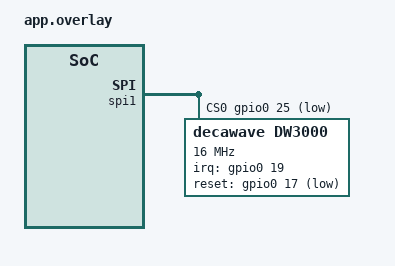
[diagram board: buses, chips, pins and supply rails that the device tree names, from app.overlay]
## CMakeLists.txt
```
cmake_minimum_required(VERSION 3.20.0)
find_package(Zephyr REQUIRED HINTS $ENV{ZEPHYR_BASE})
project(uwb_receiver2)

# Ajouter uniquement le fichier main.c
target_sources(app PRIVATE src/main.c)

# Les modules du driver DW3000 (hal_qorvo) sont ajoutés via west.yml
# Pas besoin de les réinclure ici manuellement (évite les conflits)
```

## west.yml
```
manifest:
  version: "0.13"

  remotes:
    - name: ncs
      url-base: https://github.com/nrfconnect

  defaults:
    remote: ncs

  projects:
    - name: nrf
      path: nrf
      revision: v2.9.1
      import: true

    - name: hal_qorvo
      path: modules/hal/qorvo
      revision: master
      url: https://github.com/br101/zephyr-dw3000-decadriver.git

  self:
    path: .
```

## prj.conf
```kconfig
# Logs
CONFIG_LOG=y
CONFIG_LOG_MODE_IMMEDIATE=y
CONFIG_LOG_DEFAULT_LEVEL=3
CONFIG_PRINTK=y

# UART
CONFIG_SERIAL=y
CONFIG_UART_CONSOLE=y
CONFIG_CONSOLE=y

# SPI + GPIO pour DW3000
CONFIG_SPI=y
CONFIG_GPIO=y

# DW3000 driver
CONFIG_DW3000=y
CONFIG_DW3000_CHIP_DW3000=y
CONFIG_DW3000_SPI_MAX_MHZ=32
CONFIG_DW3000_LOG_LEVEL_INF=y
```

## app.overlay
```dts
&spi1 {
    status = "okay";
    cs-gpios = <&gpio0 25 GPIO_ACTIVE_LOW>;
    dw3000@0 {
        compatible = "decawave,dw3000";
        reg = <0>;
        spi-max-frequency = <16000000>;
        irq-gpios = <&gpio0 19 GPIO_ACTIVE_HIGH>;
        reset-gpios = <&gpio0 17 GPIO_ACTIVE_LOW>;
        label = "DW3000";
    };
};
```

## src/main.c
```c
#include <zephyr/kernel.h>
#include <zephyr/device.h>
#include <zephyr/drivers/uart.h>
#include <zephyr/sys/printk.h>
#include <stdio.h>
#include <string.h>
#include <stdlib.h>

#include "deca_device_api.h"
#include "dw3000_deca_regs.h"

#define UART_DEVICE_NODE DT_CHOSEN(zephyr_console)
#define MAX_STORED_TSTAMPS 20
#define RECEIVER_ID 1
#define SYNC_TIMEOUT_MS 60000

static const struct device *uart_dev = DEVICE_DT_GET(UART_DEVICE_NODE);
K_THREAD_STACK_DEFINE(uart_stack, 1024);
struct k_thread uart_thread;
K_SEM_DEFINE(bt_cmd_sem, 0, 1);

// Buffer de timestamps
static uint64_t timestamps[MAX_STORED_TSTAMPS];
static int ts_index = 0;
static uint64_t synced_time_ref = 0;
static int64_t last_sync_time = 0;

void store_timestamp(uint64_t ts_val) {
    timestamps[ts_index] = ts_val;
    ts_index = (ts_index + 1) % MAX_STORED_TSTAMPS;
}

void uart_thread_fn(void *a, void *b, void *c) {
    uint8_t bt_cmd[2] = {0};
    size_t idx = 0;
    static char sync_buf[32];
    static int sync_idx = 0;

    while (1) {
        uint8_t ch;
        if (uart_poll_in(uart_dev, &ch) == 0) {
            if (ch == 'B' || ch == 'T') {
                bt_cmd[idx++] = ch;
                if (idx == 2 && bt_cmd[0] == 'B' && bt_cmd[1] == 'T') {
                    printk("\n[UART] Commande BT reçue. Passage en réception UWB...\n");
                    k_sem_give(&bt_cmd_sem);
                    idx = 0;
                }
            } else {
                idx = 0;
            }

            if (ch == 'S') {
                sync_buf[sync_idx++] = ch;
            } else if (sync_idx > 0) {
                sync_buf[sync_idx++] = ch;
                if (sync_idx >= 5 && strncmp(sync_buf, "SYNC:", 5) == 0) {
                    if (ch == '\n' || ch == '\r') {
                        sync_buf[sync_idx] = '\0';
                        uint64_t ts = strtoull(sync_buf + 5, NULL, 10);
                        synced_time_ref = ts;
                        last_sync_time = k_uptime_get();
                        printk("[SYNC] Réception synchronisation horloge : %llu\n", synced_time_ref);
                        sync_idx = 0;
                    }
                } else if (sync_idx >= sizeof(sync_buf)) {
                    sync_idx = 0;
                }
            }
        }
        k_msleep(10);
    }
}

int main(void)
{
    printk("\n[BOOT] Initialisation...\n");

    if (!device_is_ready(uart_dev)) {
        printk("[ERREUR] UART non prêt\n");
        return 1;
    }

    dwt_softreset(0);
    if (dwt_initialise(DWT_DW_INIT) != DWT_SUCCESS) {
        printk("[ERREUR] Échec init DW3000\n");
        return 1;
    }

    printk("[OK] DW3000 initialisé\n");

    dwt_setchannel(5);
    dwt_configuretxrf(NULL);
    dwt_enableautoack(0, 0);
    dwt_setrxtimeout(0);

    k_thread_create(&uart_thread, uart_stack, K_THREAD_STACK_SIZEOF(uart_stack),
                    uart_thread_fn, NULL, NULL, NULL, 5, 0, K_NO_WAIT);

    uint8_t rx_buffer[127];
    uint8_t ts[5];
    int msg_count = 0;

    printk("[READY] Attente d’une commande BT...\n");

    while (1) {
        k_sem_take(&bt_cmd_sem, K_FOREVER);
        dwt_rxenable(DWT_START_RX_IMMEDIATE);

        int timeout = 500;
        while (timeout-- > 0) {
            if (dwt_checkirq() && dwt_readrdbstatus() & DWT_RDB_STATUS_RXFCG0_BIT_MASK) {
                dwt_readrxdata(rx_buffer, sizeof(rx_buffer), 0);
                dwt_readrxtimestamp(ts, 0);

                uint64_t ts_val = 0;
                for (int i = 0; i < 5; i++) {
                    ts_val |= ((uint64_t)ts[i]) << (i * 8);
                }

                if (synced_time_ref > 0 && (k_uptime_get() - last_sync_time > SYNC_TIMEOUT_MS)) {
                    printk("[SYNC] Timeout - horloge désynchronisée\n");
                    synced_time_ref = 0;
                }

                uint64_t ts_relative = (synced_time_ref > 0) ? ts_val - synced_time_ref : ts_val;

                store_timestamp(ts_val);
                msg_count++;

                printk("\n[%d] UWB reçu : %s\n", msg_count, rx_buffer);
                printk("[TDoA] Timestamp : %02X%02X%02X%02X%02X | %llu\n",
                       ts[4], ts[3], ts[2], ts[1], ts[0], ts_relative);

                char msg[80];
                snprintf(msg, sizeof(msg), "<UWB_TS:%llu;ID:%02d>\n", ts_relative, RECEIVER_ID);

                for (int i = 0; msg[i] != '\0'; i++) {
                    uart_poll_out(uart_dev, msg[i]);
                }

                dwt_writesysstatuslo(DWT_INT_RXFCG_BIT_MASK);

                if (msg_count % 10 == 0) {
                    printk("[INFO] %d messages traités.\n", msg_count);
                }

                break;
            }
            k_msleep(10);
        }

        if (timeout <= 0) {
            printk("[UWB] Timeout réception\n");
        }
    }
}
```
